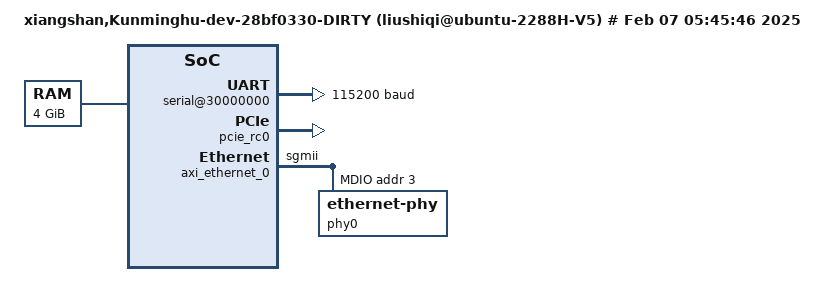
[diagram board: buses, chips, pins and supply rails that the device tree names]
/dts-v1/;

/ {
	#address-cells = <2>;
	#size-cells = <2>;
	compatible = "freechips,rocketchip-unknown-dev";
	model = "xiangshan,Kunminghu-dev-28bf0330-DIRTY (liushiqi@ubuntu-2288H-V5) # Feb 07 05:45:46 2025";
	
	chosen {
		bootargs = "root=/dev/nvme0n1p2 earlycon=sbi console=ttyUL0";
	};
	
	cpus {
		#address-cells = <1>;
		#size-cells = <0>;
		timebase-frequency = <10000000>;// clk freq / 100
		cpu0: cpu@0 {
			clock-frequency = <0>;
			compatible = "ICT,xiangshan", "riscv";
			d-cache-block-size = <64>;
			d-cache-sets = <256>;
			d-cache-size = <65536>;
			d-tlb-sets = <1>;
			d-tlb-size = <48>;
			device_type = "cpu";
			i-cache-block-size = <64>;
			i-cache-sets = <256>;
			i-cache-size = <65536>;
			i-tlb-sets = <1>;
			i-tlb-size = <48>;
			mmu-type = "riscv,sv50";
			next-level-cache = <&mem>;
			reg = <0x0>;
			riscv,isa = "rv64imafdcvh";
			riscv,isa-base = "rv64i";
			riscv,isa-extensions = "i", "m", "a", "f", "d", "c", "v", "h", "sdtrig", "sha", "shcounterenw", "shgatpa", "shlcofideleg", "shtvala", "shvsatpa", "shvstvala", "shvstvecd", "smaia", "smcsrind", "smdbltrp", "smmpm", "smnpm", "smrnmi", "smstateen", "ss1p13", "ssaia", "ssccptr", "sscofpmf", "sscounterenw", "sscsrind", "ssdbltrp", "ssnpm", "sspm", "ssstateen", "ssstrict", "sstc", "sstvala", "sstvecd", "ssu64xl", "supm", "sv39", "sv48", "svade", "svbare", "svinval", "svnapot", "za64rs", "zacas", "zba", "zbb", "zbc", "zbkb", "zbkc", "zbkx", "zbs", "zcb", "zcmop", "zfa", "zfh", "zfhmin", "zic64b", "ziccif", "zicclsm", "ziccrse", "zicntr", "zicond", "zicsr", "zifencei", "zihintpause", "zihpm", "zimop", "zkn", "zknd", "zkne", "zknh", "zksed", "zksh", "zkt", "zvbb", "zvfh", "zvfhmin", "zvkt", "zvl128b", "zvl32b", "zvl64b";
			status = "okay";
			tlb-split;
			cpu0_intc: interrupt-controller {
				#interrupt-cells = <1>;
				compatible = "riscv,cpu-intc";
				interrupt-controller;
			};
		};
	};
	
	mem: memory@80000000 {
		device_type = "memory";
		reg = <0x0 0x80000000 0x1 0x00000000>;
	};
	
	soc {
		#address-cells = <2>;
		#size-cells = <2>;
		compatible = "freechips,rocketchip-unknown-soc", "simple-bus";
		ranges;
		bus-error-unit {
			compatible = "sifive,buserror0";
			interrupt-parent = <&plic>;
			interrupts = <65>;
		};
		cache-controller@39000000 {
			reg = <0x0 0x39000000 0x0 0x10000>;
			reg-names = "control";
		};
		clint@38000000 {
			compatible = "riscv,clint0";
			interrupts-extended = <&cpu0_intc 3 &cpu0_intc 7>;
			reg = <0x0 0x38000000 0x0 0x10000>;
			reg-names = "control";
		};
		debug-controller@38020000 {
			compatible = "sifive,debug-013", "riscv,debug-013";
			debug-attach = "jtag";
			interrupts-extended = <&cpu0_intc 65535>;
			reg = <0x0 0x38020000 0x0 0x1000>;
			reg-names = "control";
		};
		error-device@0 {
			compatible = "sifive,error0";
			reg = <0x0 0x0 0x0 0x80000000>;
		};
		plic: interrupt-controller@3c000000 {
			#interrupt-cells = <1>;
			compatible = "riscv,plic0";
			interrupt-controller;
			interrupts-extended = <&cpu0_intc 11 &cpu0_intc 9>;
			reg = <0x0 0x3c000000 0x0 0x4000000>;
			reg-names = "control";
			riscv,max-priority = <7>;
			riscv,ndev = <65>;
		};
		mmpma@38021000 {
			reg = <0x0 0x38021000 0x0 0x1000>;
			reg-names = "control";
		};
		pll_ctrl@3a000000 {
			reg = <0x0 0x3a000000 0x0 0x1000>;
			reg-names = "control";
		};
		serial@30000000 {
			device_type = "serial";
			compatible = "xlnx,opb-uartlite-1.00.b";
			reg = <0x0 0x30000000 0x0 0x10000>;
			current-speed = <115200>;
			clock-frequency = <50000000>;
			interrupt-parent = <&plic>;
			interrupts = <1>;
			xlnx,data-bits = <8>;
			xlnx,odd-parity = <0>;
			xlnx,use-parity = <0>;
		};
		pcie_rc0: pcie@60000000 {
			compatible = "xlnx,xdma-host-3.00";
			device_type = "pci";
			reg = <0x0 0x60000000 0x0 0x00800000>, /*Root port 0 ctrl*/
				  <0x0 0x50000000 0x0 0x00100000>;
			reg-names = "rp0";
			#address-cells = <3>;
			#size-cells = <2>;
			bus-range = <0 1>;
			// ranges = <0x02000000 0x00000000 0x20000000 0x0 0x20000000 0x00000000 0x04000000>;
			ranges = <0x02000000 0x00000000 0x00000000 0x0 0x00000000 0x00000000 0x00000000 0x200000000>; /*Root port 0 BAR*/
			#interrupt-cells = <1>;
			interrupts = <2>,  /*Root port 0 INTx*/
			<3>,  /*Root port 0 MSI0*/
			<4>;  /*Root port 0 MSI1*/
			interrupt-parent = <&plic>;
			
			pcie_rp0: pcie@0,0 {
				device_type = "pci";
				reg = <0x0000 0 0 0 0>;
				#address-cells = <3>;
				#size-cells = <2>;
				ranges;
				#interrupt-cells = <1>;
				interrupt-map-mask = <0 0 0 7>;
				interrupt-map = <0 0 0 1 &pcie_intc0 1>,
				<0 0 0 2 &pcie_intc0 2>,
				<0 0 0 3 &pcie_intc0 3>,
				<0 0 0 4 &pcie_intc0 4>;
				pcie_intc0: interrupt-controller {
					interrupt-controller;
					#address-cells = <0>;
					#interrupt-cells = <1>;
				};
			};
		};

		cpu_clk: cpu_clk {
			compatible = "fixed-clock";
			#clock-cells = <0>;
			clock-frequency = <100000000>; /* 100 MHz */
		};

		lvds_clk: lvds_clk {
			compatible = "fixed-clock";
			#clock-cells = <0>;
			clock-frequency = <625000000>; /* 625 MHz for LVDS/SGMII ref */
		};

		axi_dma_0: dma@40040000 {
			compatible = "xlnx,axi-dma-1.00.a";
			reg = <0x0 0x40040000 0x0 0x10000>;
			interrupts = <5>, <6>;
			interrupt-parent = <&plic>;

			#dma-cells = <1>;

			xlnx,include-sg = <1>;
			xlnx,num-fstores = <1>;
			//xlnx,addrwidth = <32>;
			xlnx,addrwidth = /bits/ 8 <0x40>;      /* 64 bits address bus */
			//xlnx,include-sg;                       /* Scatter-Gather mode */
			xlnx,include-dre;                      /* DRE module */

			dma-channel@40040000 {
				compatible = "xlnx,axi-dma-mm2s-channel";
				dma-channels = <0x1>;
				interrupts = <5>;                  /* MM2S channel IRQ */
				xlnx,datawidth = <0x40>;
				xlnx,device-id = <0x0>;
			};

			dma-channel@40040030 {
				compatible = "xlnx,axi-dma-s2mm-channel";
				dma-channels = <0x1>;
				interrupts = <6>;                 /* S2MM channel IRQ */
				xlnx,datawidth = <0x40>;
				xlnx,device-id = <0x0>;
			};
		};

		axi_ethernet_0: ethernet@40000000 {
			compatible = "xlnx,axi-ethernet-1.00.a";
			reg = <0x0 0x40000000 0x0 0x40000>;
			interrupts = <7>, <8>;
			interrupt-parent = <&plic>;

			clocks = <&cpu_clk>, <&lvds_clk>;
			clock-names = "s_axi_lite_clk", "sgmii_clk";

			phy-mode = "sgmii";

			dmas = <&axi_dma_0 0>, <&axi_dma_0 1>;
			dma-names = "tx_chan0", "rx_chan0";

			xlnx,rxcsum = <2>;
			xlnx,rxmem  = <0x800>;
			xlnx,txcsum = <2>;

			local-mac-address = [00 0a 35 01 dd dd];

			mdio {
				#address-cells = <1>;
				#size-cells = <0>;
				phy0: ethernet-phy@3 {
					reg = <3>;
					ti,dp83867-rxctrl-strap-quirk;
					ti,sgmii-ref-clock-output-enable;
					ti,fifo-depth = <0x1>;
					ti,rx-internal-delay = <0x8>;
					ti,tx-internal-delay = <0xa>;
				};
			};
		};
	};
};
